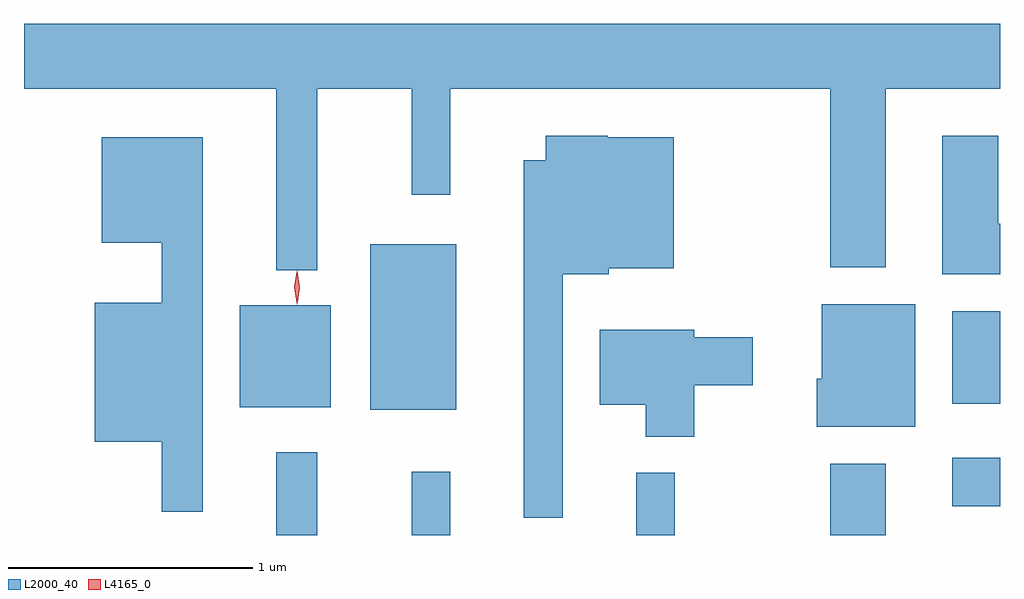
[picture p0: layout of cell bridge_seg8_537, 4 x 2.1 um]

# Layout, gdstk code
import gdstk
lib = gdstk.Library(unit=1e-6, precision=1e-09)
def R(c, l, rs):  # rectangles x0, y0, x1, y1
    for r in rs: c.add(gdstk.rectangle(r[:2], r[2:], *l))
def P(c, l, *ps):  # polygons
    for p in ps: c.add(gdstk.Polygon(p, *l))
L2000_40 = (2000, 40)
L4165_0 = (4165, 0)

bridge_seg8_537 = lib.new_cell('bridge_seg8_537')
R(bridge_seg8_537, L2000_40, [(471.311,1854.566,471.479,1854.908), (471.866,1854.566,472.024,1854.828), (472.786,1854.566,472.944,1854.823), (473.581,1854.566,473.809,1854.859), (474.081,1854.686,474.277,1854.884), (471.696,1855.081,472.049,1855.759), (471.161,1855.091,471.534,1855.509), (474.081,1855.106,474.277,1855.484)])
P(bridge_seg8_537, L2000_40, [(471.479,1856.396),(471.866,1856.396),(471.866,1855.963),(472.024,1855.963),(472.024,1856.396),(473.581,1856.396),(473.581,1855.666),(473.809,1855.666),(473.809,1856.396),(474.277,1856.396),(474.277,1856.664),(470.277,1856.664),(470.277,1856.396),(471.311,1856.396),(471.311,1855.653),(471.479,1855.653)],
  [(474.277,1855.844),(474.269,1855.844),(474.269,1856.204),(474.041,1856.204),(474.041,1855.636),(474.277,1855.636)],
  [(472.484,1855.636),(472.674,1855.636),(472.674,1855.661),(472.939,1855.661),(472.939,1856.199),(472.67,1856.199),(472.67,1856.204),(472.416,1856.204),(472.416,1856.104),(472.326,1856.104),(472.326,1854.638),(472.484,1854.638)],
  [(471.009,1856.199),(470.596,1856.199),(470.596,1855.766),(470.841,1855.766),(470.841,1855.519),(470.566,1855.519),(470.566,1854.951),(470.841,1854.951),(470.841,1854.663),(471.009,1854.663)],
  [(473.929,1855.514),(473.546,1855.514),(473.546,1855.209),(473.526,1855.209),(473.526,1855.011),(473.929,1855.011)],
  [(473.024,1855.181),(473.264,1855.181),(473.264,1855.379),(473.024,1855.379),(473.024,1855.409),(472.636,1855.409),(472.636,1855.101),(472.826,1855.101),(472.826,1854.971),(473.024,1854.971)])
P(bridge_seg8_537, L4165_0, [(471.394,1855.518),(471.394,1855.519),(471.384,1855.583),(471.394,1855.647),(471.394,1855.647),(471.395,1855.647),(471.404,1855.583),(471.395,1855.519)],
  [(471.396,1855.514),(471.387,1855.582),(471.396,1855.65),(471.397,1855.651),(471.397,1855.65),(471.407,1855.582),(471.397,1855.514),(471.397,1855.514)])

lib.write_gds('bridge_seg8_537.gds')
